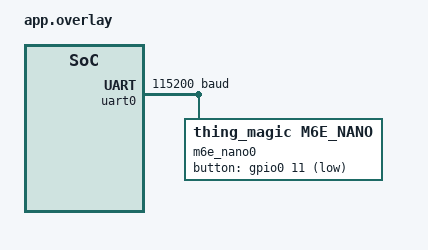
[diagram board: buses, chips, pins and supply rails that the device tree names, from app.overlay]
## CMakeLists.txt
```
cmake_minimum_required(VERSION 3.13.1)

find_package(Zephyr REQUIRED HINTS $ENV{ZEPHYR_BASE})
set(ZEPHYR_MODULES ../../drivers/m6e_nano)

project(simple LANGUAGES C)

target_sources(simple PRIVATE src/main.c)
add_subdirectory_ifdef(CONFIG_M6E_NANO ../../driver/m6e_nano m6e-nano)
```

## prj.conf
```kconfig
# Enable custom device driver
CONFIG_UART_INTERRUPT_DRIVEN=y
CONFIG_SERIAL=y
CONFIG_M6E_NANO=y

# Logging
CONFIG_LOG=y
CONFIG_LOG_DEFAULT_LEVEL=3
CONFIG_LOG_BACKEND_UART=y
# CONFIG_APP_LOG_LEVEL_DBG=y
# CONFIG_M6E_NANO_LOG_LEVEL_DBG=y
```

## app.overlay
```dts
&uart0 {
    status = "okay";
    current-speed = <115200>;
    pinctrl-0 = <&uart0_default>;
    pinctrl-names = "default";
    rfid: m6e_nano0 {
        compatible = "thing_magic,m6e_nano";
        status = "okay";
        label = "m6e_nano0";
        button-gpios = <&gpio0 11 (GPIO_ACTIVE_LOW | GPIO_PULL_UP)>; // Button 1 on dk
        initial-string = "Hello, World!";
    };
};
```

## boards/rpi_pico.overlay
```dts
&uart1 {
    status = "okay";
    current-speed = <115200>;

    m6enano {
        compatible = "thingmagic,m6enano";
    };
};
```

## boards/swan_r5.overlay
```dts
&usart1 {
    status = "okay";
    current-speed = <115200>;
    pinctrl-names = "default";
    m6enano {
        compatible = "thingmagic,m6enano";
    };
};
```

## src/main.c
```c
#include <zephyr/kernel.h>
#include <zephyr/drivers/sensor.h>
#include <zephyr/drivers/uart.h>
#include <app_version.h>
#include <stdio.h>
#include <string.h>

#include <m6e_nano.h>

#include <zephyr/logging/log.h>
LOG_MODULE_REGISTER(main, CONFIG_APP_LOG_LEVEL);

#define TAG_TOTAL_LIMIT 100

struct counter {
	char tags[TAG_TOTAL_LIMIT][(12 * 2) + 1];
	uint32_t total;
};

static struct counter seen_tags = {
	.total = 0,
};

void array_to_string(uint8_t *buf, char *str)
{
	char *ptr = &str[0];

	for (int i = 0; i < 12; i++) {
		ptr += sprintf(ptr, "%02X", buf[i]);
	}
}

void read_callback(const struct device *dev, void *user_data)
{
	const struct device *m6e_nano_dev = user_data;
	struct m6e_nano_data *drv_data = m6e_nano_dev->data;

	if (drv_data->status == RESPONSE_SUCCESS) {
		int res = m6e_nano_parse_response(user_data);
		char *res_str = "";
		switch (res) {
		case ERROR_CORRUPT_RESPONSE:
			res_str = "ERROR_CORRUPT_RESPONSE";
			break;
		case RESPONSE_IS_KEEPALIVE:
			res_str = "RESPONSE_IS_KEEPALIVE";
			printk("Tag count: %d\n", seen_tags.total);
			break;
		case RESPONSE_IS_TAGFOUND:
			res_str = "RESPONSE_IS_TAGFOUND";

			uint8_t rssi =
				m6e_nano_get_tag_rssi(user_data); // Get the RSSI for tag read
			long freq = m6e_nano_get_tag_freq(
				user_data); // Get the frequency tag was detected at
			long timeStamp = m6e_nano_get_tag_timestamp(
				user_data); // Get the time (ms) since last keep-alive
			uint8_t tagEPCBytes = m6e_nano_get_tag_epc_bytes(user_data);

			char new_tag_str[(12 * 2) + 1];
			array_to_string(drv_data->response.data + 31, new_tag_str);
			printk("Tag found: %s\n", new_tag_str);
			printk("rssi: -%ddBm | freq: %ldHz | timestamp: %ldms | size %d\n", rssi,
			       freq, timeStamp, tagEPCBytes);
			int ret = 0;
			for (size_t i = 0; i < seen_tags.total; i++) {
				if (strcmp(seen_tags.tags[i], new_tag_str) == 0) {
					printk("Tag already exists\n");
					ret = 1;
				}
			}

			if (ret == 1) {
				break;
			} else {
				strcpy(seen_tags.tags[seen_tags.total], new_tag_str);
				seen_tags.total++;
				printk("Tag count: %d\n", seen_tags.total);
			}

			break;
		case ERROR_UNKNOWN_OPCODE:
			res_str = "ERROR_UNKNOWN_OPCODE";
			break;
		default:
			break;
		}
		LOG_INF("%s", res_str);

		drv_data->status = RESPONSE_CLEAR;
	}
}

int main(void)
{
	const struct device *dev = DEVICE_DT_GET_ONE(thingmagic_m6enano);

	m6e_nano_stop_reading(dev);

	LOG_INF("Setting baud rate...");

	m6e_nano_set_baud(dev, 115200);

	LOG_INF("Requesting hardware version...");
	m6e_nano_get_version(dev);

	LOG_INF("Setting tag protocol...");
	m6e_nano_set_tag_protocol(dev, TMR_TAG_PROTOCOL_GEN2);

	LOG_INF("Setting antenna port...");
	m6e_nano_set_antenna_port(dev);

	LOG_INF("Setting RF region...");
	m6e_nano_set_region(dev, REGION_EUROPE);

	LOG_INF("Setting read power...");
	m6e_nano_set_read_power(dev, 1000);

	LOG_INF("Setting power mode...");
	m6e_nano_set_power_mode(dev, TMR_SR_POWER_MODE_MED_SAVE);

	LOG_INF("Start reading...");
	m6e_nano_start_reading(dev);

	m6e_nano_set_callback(dev, read_callback, &seen_tags);

	return 0;
}

// Headers      Status     Bootloader 
// hFF h14 h03 | h00 h00 | h14 h12 h08 h00 h30 | h00 h00 h02 h20 h22 h08 | h04 h01 h0B h01 h25 h00 h00 h00 h10 | h79 h62 
```
